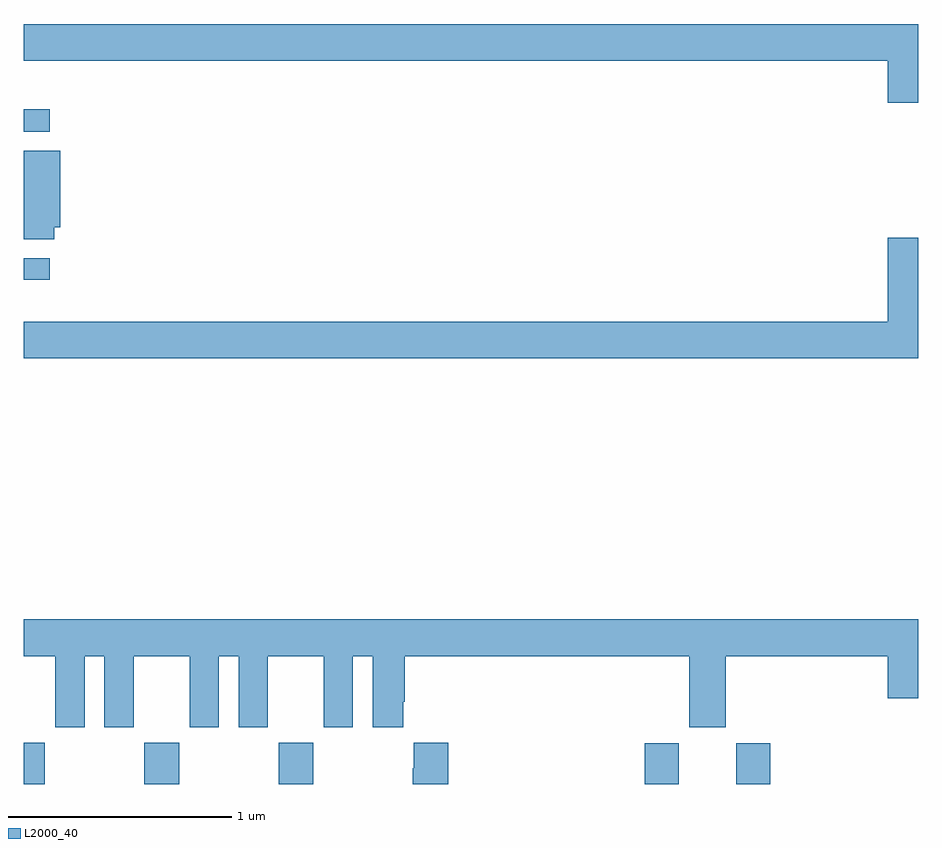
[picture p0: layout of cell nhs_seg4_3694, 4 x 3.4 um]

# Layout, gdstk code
import gdstk
lib = gdstk.Library(unit=1e-6, precision=1e-09)
def R(c, l, rs):  # rectangles x0, y0, x1, y1
    for r in rs: c.add(gdstk.rectangle(r[:2], r[2:], *l))
def P(c, l, *ps):  # polygons
    for p in ps: c.add(gdstk.Polygon(p, *l))
L2000_40 = (2000, 40)

nhs_seg4_3694 = lib.new_cell('nhs_seg4_3694')
R(nhs_seg4_3694, L2000_40, [(305,810.9,305.094,811.084), (305.539,810.9,305.694,811.084), (306.139,810.9,306.294,811.084), (307.778,810.9,307.93,811.083), (308.186,810.9,308.339,811.083), (305,813.156,305.116,813.252), (305,813.819,305.116,813.918)])
P(nhs_seg4_3694, L2000_40, [(309,814.3),(305,814.3),(305,814.136),(308.864,814.136),(308.864,813.948),(309,813.948)],
  [(305.135,813.39),(305.162,813.39),(305.162,813.734),(305,813.734),(305,813.337),(305.135,813.337)],
  [(309,813.343),(308.864,813.343),(308.864,812.968),(305,812.968),(305,812.804),(309,812.804)],
  [(305,811.472),(305.141,811.472),(305.141,811.155),(305.272,811.155),(305.272,811.472),(305.36,811.472),(305.36,811.155),(305.491,811.155),(305.491,811.472),(305.741,811.472),(305.741,811.155),(305.872,811.155),(305.872,811.472),(305.96,811.472),(305.96,811.155),(306.091,811.155),(306.091,811.472),(306.341,811.472),(306.341,811.155),(306.472,811.155),(306.472,811.472),(306.56,811.472),(306.56,811.155),(306.697,811.155),(306.697,811.267),(306.704,811.267),(306.704,811.472),(307.976,811.472),(307.976,811.155),(308.14,811.155),(308.14,811.472),(308.864,811.472),(308.864,811.284),(309,811.284),(309,811.636),(305,811.636)],
  [(306.899,811.084),(306.743,811.084),(306.743,810.971),(306.739,810.971),(306.739,810.9),(306.899,810.9)])

lib.write_gds('nhs_seg4_3694.gds')
